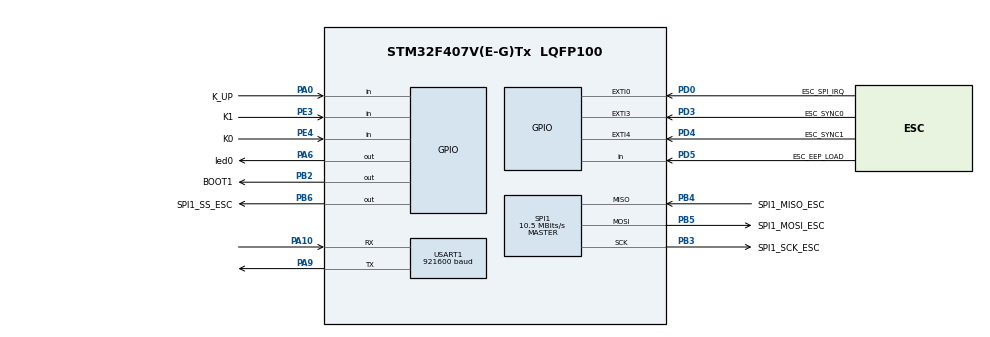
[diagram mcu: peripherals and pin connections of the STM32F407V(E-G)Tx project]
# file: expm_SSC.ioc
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Mcu.Family=STM32F4
Mcu.Name=STM32F407V(E-G)Tx
Mcu.Package=LQFP100
NVIC.EXTI0_IRQn=true\:0\:0\:false\:false\:true\:true\:true\:true
NVIC.EXTI3_IRQn=true\:0\:0\:false\:false\:true\:true\:true\:true
NVIC.EXTI4_IRQn=true\:0\:0\:false\:false\:true\:true\:true\:true
NVIC.PriorityGroup=NVIC_PRIORITYGROUP_4
NVIC.TIM2_IRQn=true\:0\:0\:false\:false\:true\:true\:true\:true
PA0-WKUP.GPIO_Label=K_UP
PA0-WKUP.Signal=GPIO_Input
PA10.Mode=Asynchronous
PA10.Signal=USART1_RX
PA13.Mode=Serial_Wire
PA13.Signal=SYS_JTMS-SWDIO
PA14.Mode=Serial_Wire
PA14.Signal=SYS_JTCK-SWCLK
PA6.GPIO_Label=led0
PA6.Signal=GPIO_Output
PA9.Mode=Asynchronous
PA9.Signal=USART1_TX
PB2.GPIO_Label=BOOT1
PB2.Signal=GPIO_Output
PB3.GPIO_Label=SPI1_SCK_ESC
PB3.Mode=Full_Duplex_Master
PB3.Signal=SPI1_SCK
PB4.GPIO_Label=SPI1_MISO_ESC
PB4.Mode=Full_Duplex_Master
PB4.Signal=SPI1_MISO
PB5.GPIO_Label=SPI1_MOSI_ESC
PB5.Mode=Full_Duplex_Master
PB5.Signal=SPI1_MOSI
PB6.GPIO_Label=SPI1_SS_ESC
PB6.GPIO_PuPd=GPIO_NOPULL
PB6.GPIO_Speed=GPIO_SPEED_FREQ_VERY_HIGH
PB6.Signal=GPIO_Output
PD0.GPIO_Label=ESC_SPI_IRQ
PD0.GPIO_ModeDefaultEXTI=GPIO_MODE_IT_FALLING
PD0.GPIO_PuPd=GPIO_NOPULL
PD0.Signal=GPXTI0
PD3.GPIO_Label=ESC_SYNC0
PD3.GPIO_ModeDefaultEXTI=GPIO_MODE_IT_FALLING
PD3.GPIO_PuPd=GPIO_NOPULL
PD3.Signal=GPXTI3
PD4.GPIO_Label=ESC_SYNC1
PD4.GPIO_ModeDefaultEXTI=GPIO_MODE_IT_FALLING
PD4.GPIO_PuPd=GPIO_NOPULL
PD4.Signal=GPXTI4
PD5.GPIO_Label=ESC_EEP_LOAD
PD5.GPIO_PuPd=GPIO_PULLDOWN
PD5.Signal=GPIO_Input
PE3.GPIO_Label=K1
PE3.Signal=GPIO_Input
PE4.GPIO_Label=K0
PE4.Signal=GPIO_Input
PH0-OSC_IN.Mode=HSE-External-Oscillator
PH0-OSC_IN.Signal=RCC_OSC_IN
PH1-OSC_OUT.Mode=HSE-External-Oscillator
PH1-OSC_OUT.Signal=RCC_OSC_OUT
ProjectManager.HeapSize=0x1000
ProjectManager.StackSize=0x400
ProjectManager.TargetToolchain=CMake
RCC.48MHZClocksFreq_Value=48000000
RCC.AHBFreq_Value=168000000
RCC.APB1CLKDivider=RCC_HCLK_DIV4
RCC.APB1Freq_Value=42000000
RCC.APB1TimFreq_Value=84000000
RCC.APB2CLKDivider=RCC_HCLK_DIV2
RCC.APB2Freq_Value=84000000
RCC.APB2TimFreq_Value=168000000
RCC.CortexFreq_Value=168000000
RCC.HCLKFreq_Value=168000000
RCC.HSE_VALUE=8000000
RCC.HSI_VALUE=16000000
RCC.LSE_VALUE=32768
RCC.PLLM=4
RCC.PLLN=168
RCC.PLLQ=7
RCC.PLLSourceVirtual=RCC_PLLSOURCE_HSE
RCC.SYSCLKFreq_VALUE=168000000
RCC.SYSCLKSource=RCC_SYSCLKSOURCE_PLLCLK
RCC.VCOOutputFreq_Value=336000000
SPI1.BaudRatePrescaler=SPI_BAUDRATEPRESCALER_8
SPI1.CLKPhase=SPI_PHASE_2EDGE
SPI1.CLKPolarity=SPI_POLARITY_HIGH
SPI1.CalculateBaudRate=10.5 MBits/s
SPI1.Direction=SPI_DIRECTION_2LINES
SPI1.Mode=SPI_MODE_MASTER
SPI1.VirtualType=VM_MASTER
TIM2.Period=1000
TIM2.Prescaler=84
USART1.BaudRate=921600
USART1.VirtualMode=VM_ASYNC
VP_RTC_VS_RTC_Activate.Mode=RTC_Enabled
VP_TIM2_VS_ClockSourceINT.Mode=Internal
board=custom

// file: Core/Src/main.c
/* USER CODE BEGIN Header */
/**
 ******************************************************************************
 * @file           : main.c
 * @brief          : Main program body
 ******************************************************************************
 * @attention
 *
 * Copyright (c) 2025 STMicroelectronics.
 * All rights reserved.
 *
 * This software is licensed under terms that can be found in the LICENSE file
 * in the root directory of this software component.
 * If no LICENSE file comes with this software, it is provided AS-IS.
 *
 ******************************************************************************
 */
/* USER CODE END Header */
#include "main.h"

/* USER CODE BEGIN Includes */
#include <SSC-Device.h>    //SSC-DeviceObjects.h --> ApplicationObjDic
#include <applInterface.h> //pAPPL_MainLoop
#include <ecatappl.h>
#include <task.h>
// aware that cubeMX not support CPP generation (only cubeIDE does)
// https://community.st.com/t5/stm32cubemx-mcus/how-to-configure-stm32cubemx-to-support-c-development/td-p/109965

#include <stdint.h>
#include <stdio.h>

/* USER CODE END Includes */

RTC_HandleTypeDef hrtc;

SPI_HandleTypeDef hspi1;

TIM_HandleTypeDef htim2;

UART_HandleTypeDef huart1;

void
SystemClock_Config(void);
static void
MX_GPIO_Init(void);
static void
MX_RTC_Init(void);
static void
MX_SPI1_Init(void);
static void
MX_USART1_UART_Init(void);
static void
MX_TIM2_Init(void);
/* USER CODE BEGIN PFP */

/**
 * @see
 * https://github.com/STMicroelectronics/STM32CubeF4/blob/master/Projects/STM32F410xx-Nucleo/Examples/UART/UART_Printf/Src/main.c
 */
#ifdef __GNUC__
/* With GCC, small printf (option LD Linker->Libraries->Small printf
   set to 'Yes') calls __io_putchar() */
#define PUTCHAR_PROTOTYPE int __io_putchar(int ch)
#else
#define PUTCHAR_PROTOTYPE int fputc(int ch, FILE* f)
#endif /* __GNUC__ */

#define UART_PRINTF FALSE

#if UART_PRINTF == TRUE
/**
 * @brief  Retargets the C library printf function to the USART.
 * @param  None
 * @retval None
 * @attention This function is severely slow(>1ms), and slow down ISR
 */
PUTCHAR_PROTOTYPE
{
  /* Place your implementation of fputc here */
  /* e.g. write a character to the EVAL_COM1 and Loop until the end of transmission */
  /* Add carriage return before newline for proper terminal display */
  if (ch == '\n') {
    uint8_t cr = '\r';
    HAL_UART_Transmit(&huart1, &cr, 1, 0xFFFF);
  }
  HAL_UART_Transmit(&huart1, (uint8_t*)&ch, 1, 0xFFFF);

  return ch;
}
#endif

/* USER CODE END PFP */

/* USER CODE BEGIN 0 */
void
HAL_GPIO_EXTI_Callback(uint16_t GPIO_Pin)
{
  UNUSED(GPIO_Pin);
  // if inited?
  printf("IO value: %d\n", HAL_GPIO_ReadPin(ESC_SPI_IRQ_GPIO_Port, ESC_SPI_IRQ_Pin));

#if INTERRUPTS_SUPPORTED == 1
  DISABLE_ESC_INT();
#endif

  printf("EXTI CB: 0x%x\n", GPIO_Pin);
#if AL_EVENT_ENABLED == 1
  // read gpio pin state
  if (HAL_GPIO_ReadPin(ESC_SPI_IRQ_GPIO_Port, ESC_SPI_IRQ_Pin) == GPIO_PIN_RESET) {
    printf("PDI trig\n");
    PDI_Isr();
  }
#endif

#if DC_SUPPORTED == 1
  if (HAL_GPIO_ReadPin(ESC_SYNC0_GPIO_Port, ESC_SYNC0_Pin) == GPIO_PIN_RESET) {
    printf("Sync0 trig\n");
    Sync0_Isr();
  }
#endif

#if DC_SUPPORTED == 1
  if (HAL_GPIO_ReadPin(ESC_SYNC1_GPIO_Port, ESC_SYNC1_Pin) == GPIO_PIN_RESET) {
    printf("Sync1 trig\n");
    Sync1_Isr();
  }
#endif
  // printf("Unknown GPIO_EXTI Callback: 0x%x\n", GPIO_Pin);

#if INTERRUPTS_SUPPORTED == 1
  ENABLE_ESC_INT();
#endif
}

void
ssc_appl_application_impl()
{
  task_loop();
}
/* USER CODE END 0 */

int
main(void)
{

  /* MCU Configuration--------------------------------------------------------*/

  /* Reset of all peripherals, Initializes the Flash interface and the Systick. */
  HAL_Init();

  /* Configure the system clock */
  SystemClock_Config();

  /* Initialize all configured peripherals */
  MX_GPIO_Init();
  MX_RTC_Init();
  MX_SPI1_Init();
  MX_USART1_UART_Init();
  MX_TIM2_Init();
  /* USER CODE BEGIN 2 */

  SSC_appl_singleton_instance.APPL_Application = ssc_appl_application_impl;
  pAPPL_MainLoop = NULL;

  {
    uint8_t rst = HW_Init();
    if (rst != 0) {
      printf("HW_Init failed with code: %d\n", rst);
      return rst; // exit if HW_Init failed
    }
  }

  MainInit(); // COE_ObjDictionaryInit
  // al mask had reset in MainInit
  task_init();
  printf("start\n");

  /* USER CODE END 2 */

  /* Infinite loop */
  /* USER CODE BEGIN WHILE */
  bRunApplication = TRUE;
  uint32_t loop_timer = 0;
  while (1) {
    // this busy loop will break zephyr scheduling
    MainLoop();

    // k_sleep(K_USEC(100)); // this is a simple workaround to avoid busy loop
    loop_timer++;
    // if (loop_timer >= 10000) { // 1s
    //   loop_timer = 0;
    //   UINT16 al_req_ev = HW_GetALEventRegister();
    //   printf("ESC ALEvent register: 0x%x\n", al_req_ev);
    //   // check if al event is existed, check if al event mask existed
    //   // check if SSC consider it's error (by led)
    //   UINT32 intMask = 0;
    //   HW_EscReadDWord(intMask, ESC_AL_EVENTMASK_OFFSET);
    //   printf("ESC ALEvent mask: 0x%lx\n", intMask);
    // }

    if (bRunApplication == FALSE) {
      break;
    }
    /* USER CODE END WHILE */

    /* USER CODE BEGIN 3 */
  }

  HW_Release();
  /* USER CODE END 3 */
}

void
SystemClock_Config(void)
{
  RCC_OscInitTypeDef RCC_OscInitStruct = { 0 };
  RCC_ClkInitTypeDef RCC_ClkInitStruct = { 0 };

  /** Configure the main internal regulator output voltage
   */
  __HAL_RCC_PWR_CLK_ENABLE();
  __HAL_PWR_VOLTAGESCALING_CONFIG(PWR_REGULATOR_VOLTAGE_SCALE1);

  /** Initializes the RCC Oscillators according to the specified parameters
   * in the RCC_OscInitTypeDef structure.
   */
  RCC_OscInitStruct.OscillatorType = RCC_OSCILLATORTYPE_LSI | RCC_OSCILLATORTYPE_HSE;
  RCC_OscInitStruct.HSEState = RCC_HSE_ON;
  RCC_OscInitStruct.LSIState = RCC_LSI_ON;
  RCC_OscInitStruct.PLL.PLLState = RCC_PLL_ON;
  RCC_OscInitStruct.PLL.PLLSource = RCC_PLLSOURCE_HSE;
  RCC_OscInitStruct.PLL.PLLM = 4;
  RCC_OscInitStruct.PLL.PLLN = 168;
  RCC_OscInitStruct.PLL.PLLP = RCC_PLLP_DIV2;
  RCC_OscInitStruct.PLL.PLLQ = 7;
  if (HAL_RCC_OscConfig(&RCC_OscInitStruct) != HAL_OK) {
    Error_Handler();
  }

  /** Initializes the CPU, AHB and APB buses clocks
   */
  RCC_ClkInitStruct.ClockType = RCC_CLOCKTYPE_HCLK | RCC_CLOCKTYPE_SYSCLK | RCC_CLOCKTYPE_PCLK1 | RCC_CLOCKTYPE_PCLK2;
  RCC_ClkInitStruct.SYSCLKSource = RCC_SYSCLKSOURCE_PLLCLK;
  RCC_ClkInitStruct.AHBCLKDivider = RCC_SYSCLK_DIV1;
  RCC_ClkInitStruct.APB1CLKDivider = RCC_HCLK_DIV4;
  RCC_ClkInitStruct.APB2CLKDivider = RCC_HCLK_DIV2;

  if (HAL_RCC_ClockConfig(&RCC_ClkInitStruct, FLASH_LATENCY_5) != HAL_OK) {
    Error_Handler();
  }
}

static void
MX_RTC_Init(void)
{

  /** Initialize RTC Only
   */
  hrtc.Instance = RTC;
  hrtc.Init.HourFormat = RTC_HOURFORMAT_24;
  hrtc.Init.AsynchPrediv = 127;
  hrtc.Init.SynchPrediv = 255;
  hrtc.Init.OutPut = RTC_OUTPUT_DISABLE;
  hrtc.Init.OutPutPolarity = RTC_OUTPUT_POLARITY_HIGH;
  hrtc.Init.OutPutType = RTC_OUTPUT_TYPE_OPENDRAIN;
  if (HAL_RTC_Init(&hrtc) != HAL_OK) {
    Error_Handler();
  }
}

static void
MX_SPI1_Init(void)
{

  /* SPI1 parameter configuration*/
  hspi1.Instance = SPI1;
  hspi1.Init.Mode = SPI_MODE_MASTER;
  hspi1.Init.Direction = SPI_DIRECTION_2LINES;
  hspi1.Init.DataSize = SPI_DATASIZE_8BIT;
  hspi1.Init.CLKPolarity = SPI_POLARITY_HIGH;
  hspi1.Init.CLKPhase = SPI_PHASE_2EDGE;
  hspi1.Init.NSS = SPI_NSS_SOFT;
  hspi1.Init.BaudRatePrescaler = SPI_BAUDRATEPRESCALER_8;
  hspi1.Init.FirstBit = SPI_FIRSTBIT_MSB;
  hspi1.Init.TIMode = SPI_TIMODE_DISABLE;
  hspi1.Init.CRCCalculation = SPI_CRCCALCULATION_DISABLE;
  hspi1.Init.CRCPolynomial = 10;
  if (HAL_SPI_Init(&hspi1) != HAL_OK) {
    Error_Handler();
  }
}

static void
MX_TIM2_Init(void)
{

  TIM_ClockConfigTypeDef sClockSourceConfig = { 0 };
  TIM_MasterConfigTypeDef sMasterConfig = { 0 };

  htim2.Instance = TIM2;
  htim2.Init.Prescaler = 84;
  htim2.Init.CounterMode = TIM_COUNTERMODE_UP;
  htim2.Init.Period = 1000;
  htim2.Init.ClockDivision = TIM_CLOCKDIVISION_DIV1;
  htim2.Init.AutoReloadPreload = TIM_AUTORELOAD_PRELOAD_DISABLE;
  if (HAL_TIM_Base_Init(&htim2) != HAL_OK) {
    Error_Handler();
  }
  sClockSourceConfig.ClockSource = TIM_CLOCKSOURCE_INTERNAL;
  if (HAL_TIM_ConfigClockSource(&htim2, &sClockSourceConfig) != HAL_OK) {
    Error_Handler();
  }
  sMasterConfig.MasterOutputTrigger = TIM_TRGO_RESET;
  sMasterConfig.MasterSlaveMode = TIM_MASTERSLAVEMODE_DISABLE;
  if (HAL_TIMEx_MasterConfigSynchronization(&htim2, &sMasterConfig) != HAL_OK) {
    Error_Handler();
  }
}

static void
MX_USART1_UART_Init(void)
{

  huart1.Instance = USART1;
  huart1.Init.BaudRate = 921600;
  huart1.Init.WordLength = UART_WORDLENGTH_8B;
  huart1.Init.StopBits = UART_STOPBITS_1;
  huart1.Init.Parity = UART_PARITY_NONE;
  huart1.Init.Mode = UART_MODE_TX_RX;
  huart1.Init.HwFlowCtl = UART_HWCONTROL_NONE;
  huart1.Init.OverSampling = UART_OVERSAMPLING_16;
  if (HAL_UART_Init(&huart1) != HAL_OK) {
    Error_Handler();
  }
}

static void
MX_GPIO_Init(void)
{
  GPIO_InitTypeDef GPIO_InitStruct = { 0 };

  /* GPIO Ports Clock Enable */
  __HAL_RCC_GPIOE_CLK_ENABLE();
  __HAL_RCC_GPIOH_CLK_ENABLE();
  __HAL_RCC_GPIOA_CLK_ENABLE();
  __HAL_RCC_GPIOB_CLK_ENABLE();
  __HAL_RCC_GPIOD_CLK_ENABLE();

  /*Configure GPIO pin Output Level */
  HAL_GPIO_WritePin(led0_GPIO_Port, led0_Pin, GPIO_PIN_RESET);

  /*Configure GPIO pin Output Level */
  HAL_GPIO_WritePin(GPIOB, BOOT1_Pin | SPI1_SS_ESC_Pin, GPIO_PIN_RESET);

  /*Configure GPIO pins : K1_Pin K0_Pin */
  GPIO_InitStruct.Pin = K1_Pin | K0_Pin;
  GPIO_InitStruct.Mode = GPIO_MODE_INPUT;
  GPIO_InitStruct.Pull = GPIO_NOPULL;
  HAL_GPIO_Init(GPIOE, &GPIO_InitStruct);

  /*Configure GPIO pin : K_UP_Pin */
  GPIO_InitStruct.Pin = K_UP_Pin;
  GPIO_InitStruct.Mode = GPIO_MODE_INPUT;
  GPIO_InitStruct.Pull = GPIO_NOPULL;
  HAL_GPIO_Init(K_UP_GPIO_Port, &GPIO_InitStruct);

  /*Configure GPIO pin : led0_Pin */
  GPIO_InitStruct.Pin = led0_Pin;
  GPIO_InitStruct.Mode = GPIO_MODE_OUTPUT_PP;
  GPIO_InitStruct.Pull = GPIO_NOPULL;
  GPIO_InitStruct.Speed = GPIO_SPEED_FREQ_LOW;
  HAL_GPIO_Init(led0_GPIO_Port, &GPIO_InitStruct);

  /*Configure GPIO pin : BOOT1_Pin */
  GPIO_InitStruct.Pin = BOOT1_Pin;
  GPIO_InitStruct.Mode = GPIO_MODE_OUTPUT_PP;
  GPIO_InitStruct.Pull = GPIO_NOPULL;
  GPIO_InitStruct.Speed = GPIO_SPEED_FREQ_LOW;
  HAL_GPIO_Init(BOOT1_GPIO_Port, &GPIO_InitStruct);

  /*Configure GPIO pins : ESC_SPI_IRQ_Pin ESC_SYNC0_Pin ESC_SYNC1_Pin */
  GPIO_InitStruct.Pin = ESC_SPI_IRQ_Pin | ESC_SYNC0_Pin | ESC_SYNC1_Pin;
  GPIO_InitStruct.Mode = GPIO_MODE_IT_FALLING;
  GPIO_InitStruct.Pull = GPIO_NOPULL;
  HAL_GPIO_Init(GPIOD, &GPIO_InitStruct);

  /*Configure GPIO pin : ESC_EEP_LOAD_Pin */
  GPIO_InitStruct.Pin = ESC_EEP_LOAD_Pin;
  GPIO_InitStruct.Mode = GPIO_MODE_INPUT;
  GPIO_InitStruct.Pull = GPIO_PULLDOWN;
  HAL_GPIO_Init(ESC_EEP_LOAD_GPIO_Port, &GPIO_InitStruct);

  /*Configure GPIO pin : SPI1_SS_ESC_Pin */
  GPIO_InitStruct.Pin = SPI1_SS_ESC_Pin;
  GPIO_InitStruct.Mode = GPIO_MODE_OUTPUT_PP;
  GPIO_InitStruct.Pull = GPIO_NOPULL;
  GPIO_InitStruct.Speed = GPIO_SPEED_FREQ_VERY_HIGH;
  HAL_GPIO_Init(SPI1_SS_ESC_GPIO_Port, &GPIO_InitStruct);

  /* EXTI interrupt init*/
  HAL_NVIC_SetPriority(EXTI0_IRQn, 0, 0);
  HAL_NVIC_EnableIRQ(EXTI0_IRQn);

  HAL_NVIC_SetPriority(EXTI3_IRQn, 0, 0);
  HAL_NVIC_EnableIRQ(EXTI3_IRQn);

  HAL_NVIC_SetPriority(EXTI4_IRQn, 0, 0);
  HAL_NVIC_EnableIRQ(EXTI4_IRQn);

  /* USER CODE BEGIN MX_GPIO_Init_2 */

  // enable later
  HAL_NVIC_DisableIRQ(ESC_SPI_IRQ_EXTI_IRQn);
  HAL_NVIC_DisableIRQ(ESC_SYNC0_EXTI_IRQn);
  HAL_NVIC_DisableIRQ(ESC_SYNC1_EXTI_IRQn);

  /* USER CODE END MX_GPIO_Init_2 */
}

void
Error_Handler(void)
{
  /* USER CODE BEGIN Error_Handler_Debug */
  /* User can add his own implementation to report the HAL error return state */
  __disable_irq();
  printf("Error_Handler\n");
  while (1) {
    HAL_Delay(500);
  }
  /* USER CODE END Error_Handler_Debug */
}
